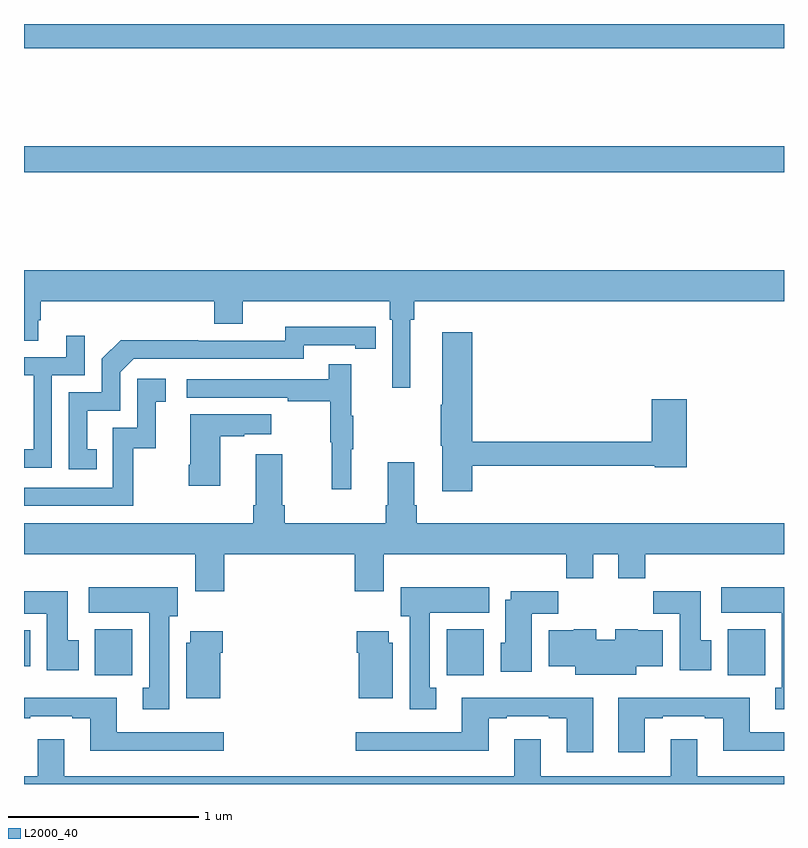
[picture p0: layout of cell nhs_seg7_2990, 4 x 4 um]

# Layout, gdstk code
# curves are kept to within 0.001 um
import gdstk
lib = gdstk.Library(unit=1e-6, precision=1e-09)
def R(c, l, rs):  # rectangles x0, y0, x1, y1
    for r in rs: c.add(gdstk.rectangle(r[:2], r[2:], *l))
def P(c, l, *ps):  # polygons
    for p in ps: c.add(gdstk.Polygon(p, *l))
L2000_40 = (2000, 40)

nhs_seg7_2990 = lib.new_cell('nhs_seg7_2990')
R(nhs_seg7_2990, L2000_40, [(301.373,1074.572,301.57,1074.814), (303.224,1074.572,303.421,1074.814), (304.703,1074.572,304.9,1074.814), (301,1074.62,301.033,1074.808), (301,1077.22,305,1077.356), (301,1077.872,305,1078)])
P(nhs_seg7_2990, L2000_40, [(303.034,1076.444),(303.053,1076.444),(303.053,1076.54),(305,1076.54),(305,1076.704),(301,1076.704),(301,1076.332),(301.075,1076.332),(301.075,1076.442),(301.088,1076.442),(301.088,1076.54),(302,1076.54),(302,1076.423),(302.152,1076.423),(302.152,1076.54),(302.924,1076.54),(302.924,1076.444),(302.937,1076.444),(302.937,1076.085),(303.034,1076.085)],
  [(301.382,1075.761),(301.333,1075.761),(301.333,1075.965),(301.506,1075.965),(301.506,1076.166),(301.578,1076.238),(302.472,1076.238),(302.472,1076.31),(302.744,1076.31),(302.744,1076.29),(302.852,1076.29),(302.852,1076.406),(302.376,1076.407),(302.376,1076.334),(301.916,1076.334),(301.916,1076.336),(301.508,1076.336),(301.41,1076.238),(301.41,1076.061),(301.236,1076.061),(301.236,1075.656),(301.382,1075.656)],
  [(303.359,1075.674),(304.32,1075.674),(304.32,1075.666),(304.487,1075.666),(304.487,1076.026),(304.304,1076.026),(304.304,1075.802),(303.359,1075.802),(303.359,1076.377),(303.2,1076.377),(303.2,1075.997),(303.193,1075.997),(303.193,1075.779),(303.2,1075.779),(303.2,1075.542),(303.359,1075.542)],
  [(301.146,1076.151),(301.32,1076.151),(301.32,1076.359),(301.223,1076.359),(301.223,1076.247),(301,1076.247),(301,1076.151),(301.05,1076.151),(301.05,1075.762),(301,1075.762),(301,1075.665),(301.146,1075.665)],
  [(302.723,1075.763),(302.734,1075.763),(302.734,1075.937),(302.723,1075.937),(302.723,1076.209),(302.605,1076.209),(302.605,1076.13),(301.857,1076.13),(301.857,1076.034),(302.389,1076.034),(302.389,1076.014),(302.613,1076.014),(302.613,1075.8),(302.62,1075.8),(302.62,1075.551),(302.723,1075.551)],
  [(301.576,1075.767),(301.694,1075.767),(301.694,1076.013),(301.747,1076.013),(301.747,1076.134),(301.596,1076.134),(301.596,1075.875),(301.467,1075.875),(301.467,1075.56),(301,1075.56),(301,1075.464),(301.576,1075.464)],
  [(302.032,1075.831),(302.159,1075.831),(302.159,1075.841),(302.302,1075.841),(302.302,1075.945),(301.874,1075.945),(301.874,1075.681),(301.867,1075.681),(301.867,1075.569),(302.032,1075.569)],
  [(302.054,1075.208),(302.741,1075.208),(302.741,1075.014),(302.893,1075.014),(302.893,1075.208),(303.853,1075.208),(303.853,1075.084),(303.997,1075.084),(303.997,1075.208),(304.127,1075.208),(304.127,1075.084),(304.271,1075.084),(304.271,1075.208),(305,1075.208),(305,1075.372),(303.068,1075.372),(303.068,1075.468),(303.055,1075.468),(303.055,1075.693),(302.915,1075.693),(302.915,1075.468),(302.903,1075.468),(302.903,1075.372),(302.372,1075.372),(302.372,1075.468),(302.359,1075.468),(302.359,1075.735),(302.219,1075.735),(302.219,1075.468),(302.207,1075.468),(302.207,1075.372),(301,1075.372),(301,1075.208),(301.901,1075.208),(301.901,1075.014),(302.054,1075.014)],
  [(301.765,1074.882),(301.81,1074.882),(301.81,1075.036),(301.341,1075.036),(301.341,1074.902),(301.658,1074.902),(301.658,1074.506),(301.625,1074.506),(301.625,1074.393),(301.765,1074.393)],
  [(305,1075.036),(304.671,1075.036),(304.671,1074.902),(304.988,1074.902),(304.988,1074.506),(304.955,1074.506),(304.955,1074.393),(305,1074.393)],
  [(303.169,1074.506),(303.136,1074.506),(303.136,1074.902),(303.448,1074.902),(303.448,1075.036),(302.984,1075.036),(302.984,1074.882),(303.029,1074.882),(303.029,1074.393),(303.169,1074.393)],
  [(301.288,1074.756),(301.231,1074.756),(301.231,1075.015),(301,1075.015),(301,1074.896),(301.121,1074.896),(301.121,1074.6),(301.288,1074.6)],
  [(304.618,1074.756),(304.561,1074.756),(304.561,1075.015),(304.312,1075.015),(304.312,1074.896),(304.451,1074.896),(304.451,1074.6),(304.618,1074.6)],
  [(303.673,1074.896),(303.812,1074.896),(303.812,1075.015),(303.563,1075.015),(303.563,1074.97),(303.533,1074.97),(303.533,1074.744),(303.509,1074.744),(303.509,1074.59),(303.673,1074.59)],
  [(304.222,1074.62),(304.363,1074.62),(304.363,1074.808),(304.23,1074.808),(304.23,1074.814),(304.112,1074.814),(304.112,1074.76),(304.012,1074.76),(304.012,1074.814),(303.894,1074.814),(303.894,1074.808),(303.761,1074.808),(303.761,1074.62),(303.902,1074.62),(303.902,1074.575),(304.222,1074.575)],
  [(302.032,1074.692),(302.045,1074.692),(302.045,1074.805),(301.874,1074.805),(301.874,1074.744),(301.853,1074.744),(301.853,1074.452),(302.032,1074.452)],
  [(302.941,1074.744),(302.92,1074.744),(302.92,1074.805),(302.75,1074.805),(302.75,1074.692),(302.762,1074.692),(302.762,1074.452),(302.941,1074.452)],
  [(304.267,1074.345),(304.363,1074.345),(304.363,1074.357),(304.583,1074.357),(304.583,1074.345),(304.679,1074.345),(304.679,1074.176),(305,1074.176),(305,1074.273),(304.819,1074.273),(304.819,1074.454),(304.127,1074.454),(304.127,1074.168),(304.267,1074.168)],
  [(303.997,1074.454),(303.305,1074.454),(303.305,1074.273),(302.745,1074.273),(302.745,1074.176),(303.445,1074.176),(303.445,1074.345),(303.541,1074.345),(303.541,1074.357),(303.761,1074.357),(303.761,1074.345),(303.857,1074.345),(303.857,1074.168),(303.997,1074.168)],
  [(302.05,1074.273),(301.489,1074.273),(301.489,1074.454),(301,1074.454),(301,1074.345),(301.033,1074.345),(301.033,1074.357),(301.253,1074.357),(301.253,1074.345),(301.349,1074.345),(301.349,1074.176),(302.05,1074.176)],
  [(305,1074.04),(304.543,1074.04),(304.543,1074.235),(304.403,1074.235),(304.403,1074.04),(303.721,1074.04),(303.721,1074.235),(303.581,1074.235),(303.581,1074.04),(301.213,1074.04),(301.213,1074.235),(301.073,1074.235),(301.073,1074.04),(301,1074.04),(301,1074),(305,1074)])

lib.write_gds('nhs_seg7_2990.gds')
